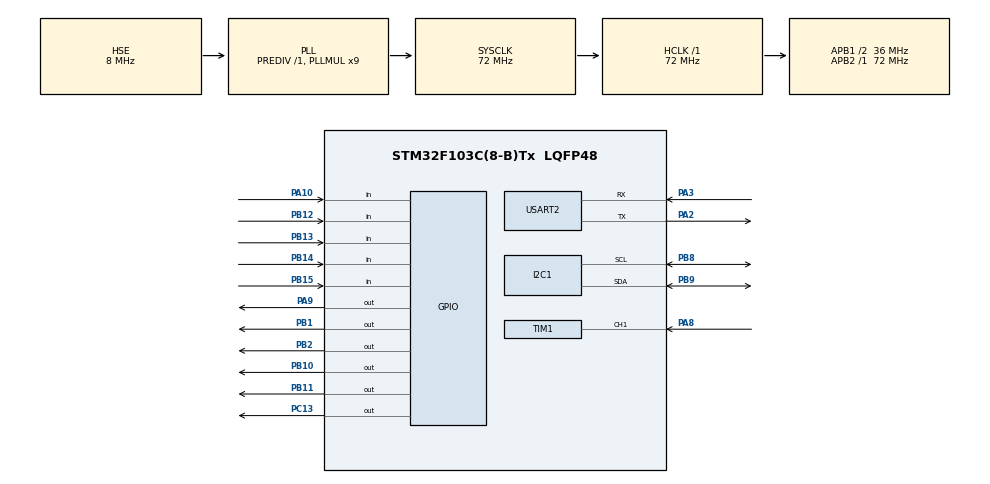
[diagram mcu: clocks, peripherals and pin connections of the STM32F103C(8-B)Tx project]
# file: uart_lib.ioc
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Mcu.Family=STM32F1
Mcu.Name=STM32F103C(8-B)Tx
Mcu.Package=LQFP48
NVIC.PriorityGroup=NVIC_PRIORITYGROUP_4
NVIC.RCC_IRQn=true\:0\:0\:false\:false\:true\:true\:false\:true
NVIC.TIM1_CC_IRQn=true\:0\:0\:false\:false\:true\:true\:true\:true
NVIC.TIM1_UP_IRQn=true\:0\:0\:false\:false\:true\:true\:true\:true
NVIC.USART2_IRQn=true\:0\:0\:false\:false\:true\:true\:true\:true
PA10.GPIO_PuPd=GPIO_PULLDOWN
PA10.Signal=GPIO_Input
PA13.Mode=Serial_Wire
PA13.Signal=SYS_JTMS-SWDIO
PA14.Mode=Serial_Wire
PA14.Signal=SYS_JTCK-SWCLK
PA2.Mode=Asynchronous
PA2.Signal=USART2_TX
PA3.Mode=Asynchronous
PA3.Signal=USART2_RX
PA8.Signal=S_TIM1_CH1
PA9.Signal=GPIO_Output
PB1.GPIO_Speed=GPIO_SPEED_FREQ_HIGH
PB1.Signal=GPIO_Output
PB10.GPIO_Speed=GPIO_SPEED_FREQ_HIGH
PB10.Signal=GPIO_Output
PB11.GPIO_Speed=GPIO_SPEED_FREQ_HIGH
PB11.Signal=GPIO_Output
PB12.GPIO_PuPd=GPIO_PULLUP
PB12.Signal=GPIO_Input
PB13.GPIO_PuPd=GPIO_PULLUP
PB13.Signal=GPIO_Input
PB14.GPIO_PuPd=GPIO_PULLUP
PB14.Signal=GPIO_Input
PB15.GPIO_PuPd=GPIO_PULLUP
PB15.Signal=GPIO_Input
PB2.GPIO_Speed=GPIO_SPEED_FREQ_HIGH
PB2.Signal=GPIO_Output
PB8.Mode=I2C
PB8.Signal=I2C1_SCL
PB9.Mode=I2C
PB9.Signal=I2C1_SDA
PC13-TAMPER-RTC.Signal=GPIO_Output
PD0-OSC_IN.Mode=HSE-External-Oscillator
PD0-OSC_IN.Signal=RCC_OSC_IN
PD1-OSC_OUT.Mode=HSE-External-Oscillator
PD1-OSC_OUT.Signal=RCC_OSC_OUT
ProjectManager.HeapSize=0x200
ProjectManager.StackSize=0x400
ProjectManager.TargetToolchain=MDK-ARM V5.32
RCC.AHBFreq_Value=72000000
RCC.APB1CLKDivider=RCC_HCLK_DIV2
RCC.APB1Freq_Value=36000000
RCC.APB1TimFreq_Value=72000000
RCC.APB2Freq_Value=72000000
RCC.APB2TimFreq_Value=72000000
RCC.HCLKFreq_Value=72000000
RCC.PLLMUL=RCC_PLL_MUL9
RCC.PLLSourceVirtual=RCC_PLLSOURCE_HSE
RCC.SYSCLKFreq_VALUE=72000000
RCC.SYSCLKSource=RCC_SYSCLKSOURCE_PLLCLK
RCC.USBFreq_Value=72000000
SH.S_TIM1_CH1.0=TIM1_CH1,Input_Capture1_from_TI1
TIM1.Channel-Input_Capture1_from_TI1=TIM_CHANNEL_1
TIM1.Prescaler=71
USART2.VirtualMode=VM_ASYNC
VP_TIM1_VS_ClockSourceINT.Mode=Internal
board=custom

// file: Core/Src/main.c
/* USER CODE BEGIN Header */
/**
  ******************************************************************************
  * @file           : main.c
  * @brief          : Main program body
  ******************************************************************************
  * @attention
  *
  * Copyright (c) 2025 STMicroelectronics.
  * All rights reserved.
  *
  * This software is licensed under terms that can be found in the LICENSE file
  * in the root directory of this software component.
  * If no LICENSE file comes with this software, it is provided AS-IS.
  *
  ******************************************************************************
  */
/* USER CODE END Header */
#include "main.h"

/* USER CODE BEGIN Includes */
#include "string.h"
#include <stdio.h>
#include "lcd_i2cModule.h"
#include "keypad_4x4.h"
#include "sr04.h"
/* USER CODE END Includes */

I2C_HandleTypeDef hi2c1;

TIM_HandleTypeDef htim1;

UART_HandleTypeDef huart2;

/* USER CODE BEGIN PV */
sr04_t sr04;
float khoang_cach = 0;
char key_val, buffer[20];
uint8_t sound = 0;

char buffer_sr04[20];
char buffer_kp[20];
char buffer_sound[20];

#define HCSR04_PERIOD_MS 50
#define SOUNDSS_PERIOD_MS 50
#define KEYBOARD_PERIOD_MS 500
#define LCD_PERIOD_MS 250
#define UART_PERIOD_MS 50
#define TOTAL_CYCLE_MS 500

#define T1 50
#define T2 50
#define T3 500
#define T4 250
#define T5 50
#define T6 500

uint32_t start_time_task_1 = 0, end_time_task_1 = 0;
uint32_t start_time_task_2 = 0, end_time_task_2 = 0;
uint32_t start_time_task_3 = 0, end_time_task_3 = 0;
uint32_t start_time_task_4 = 0, end_time_task_4 = 0;
uint32_t start_time_task_5 = 0, end_time_task_5 = 0;

uint32_t last_tick_t1 = 0;
uint32_t last_tick_t2 = 0;
uint32_t last_tick_t3 = 0;
uint32_t last_tick_t4 = 0;
uint32_t last_tick_t5 = 0;

/* Task intervals (in milliseconds) */
/* USER CODE END PV */

void SystemClock_Config(void);
static void MX_GPIO_Init(void);
static void MX_I2C1_Init(void);
static void MX_TIM1_Init(void);
static void MX_USART2_UART_Init(void);
/* USER CODE BEGIN PFP */

void Task_HCSR04(void);
void Task_SoundSensor(void);
void Task_Keypad(void);
void time_HCSR04(void);
void time_SoundSensor(void);
void time_Keypad(void);
/* USER CODE END PFP */

/* USER CODE BEGIN 0 */
/*
void HAL_UART_RxCpltCallback(UART_HandleTypeDef *huart){
    UNUSED(huart);
    if(huart->Instance == USART1){
        if(u8_RxData != 13) {
            u8_RxBuff[_rxIndex++] = u8_RxData;
        }
        else if(u8_RxData == 13) {
            _rxIndex = 0;
            Tx_Flag = 1;
        }
        HAL_UART_Receive_IT(&huart2, &u8_RxData, 1);
    }
}*/
 //Handle HCSR04
void handleHCSR04(void)
{
  static uint32_t lastHCSR04Time = 0;
  uint32_t currentTime = HAL_GetTick();

	//Kiem tra thoi gian tre de goi lai cam bien HCSR04
  if (currentTime - lastHCSR04Time >= HCSR04_PERIOD_MS)
  {
    sr04_trigger(&sr04);
    khoang_cach = sr04.distance;
    snprintf(buffer_sr04, 50, "Distance: %.1fmm", khoang_cach);
    lastHCSR04Time = currentTime;
  }
}

//Handle Sound Sensor
	void handleSoundSensor(void)
{
  static uint32_t lastSoundTime = 0;
  uint32_t currentTime = HAL_GetTick();

  // Kiem tra thoi gian tre de doc c?m bien am thanh
  if (currentTime - lastSoundTime >= SOUNDSS_PERIOD_MS)
  {
    if (HAL_GPIO_ReadPin(GPIOA, GPIO_PIN_10) == GPIO_PIN_RESET) {
      strcpy(buffer_sound, "YES ");
    }
    else {
      strcpy(buffer_sound, "NO ");
    }
    lastSoundTime = currentTime;
  }
}

//Handle keypad
void handleKeypad(void)
{
  static uint32_t lastKeypadTime = 0;
  uint32_t currentTime = HAL_GetTick();

  // Kiem tra thoi gian tre de doc ban phim
  if (currentTime - lastKeypadTime >= KEYBOARD_PERIOD_MS)
  {
    key_val = keypad_get_key_value();
    sprintf(buffer_kp, "Key: %c", key_val);
    lastKeypadTime = currentTime;
  }
}

//Handle LCD
void handleLCD(void)
{
	static uint32_t lastLCDTime = 0;
  uint32_t currentTime = HAL_GetTick();

	//Kiem tra thoi gian de hien thi LCD
	if (currentTime - lastLCDTime >= LCD_PERIOD_MS){
		//Hien thi khoang cach
		LCD_SetCursor(1, 1);
		LCD_Send_String(buffer_sr04, STR_NOSLIDE);

		//Hien thi trang thai am thanh
		LCD_SetCursor(2, 1);
		LCD_Send_String(buffer_sound, STR_NOSLIDE);

		//Hien thi keypad
		LCD_SetCursor(2, 7);
		LCD_Send_String(buffer_kp, STR_NOSLIDE);

		lastLCDTime = currentTime;
	}
}

//Handle UART
void handleUART(void)
{
	static uint32_t lastUARTTime = 0;
  uint32_t currentTime = HAL_GetTick();

	if (currentTime - lastUARTTime >= UART_PERIOD_MS){
		//Gui thong tin khoang cach len may tinh
		strcat(buffer_sr04, "\n");
		HAL_UART_Transmit(&huart2, (uint8_t*)buffer_sr04, strlen(buffer_sr04), HAL_MAX_DELAY);

		//Gui trang thai am thanh len may tinh
		strcat(buffer_sound, "\n");
		HAL_UART_Transmit(&huart2, (uint8_t*)buffer_sound, strlen(buffer_sound), HAL_MAX_DELAY);

		//Gui thong tin phim nhan keypad len may tinh
		strcat(buffer_kp, "\n");
		HAL_UART_Transmit(&huart2, (uint8_t*)buffer_kp, strlen(buffer_kp), HAL_MAX_DELAY);

		lastUARTTime = currentTime;
	}
}

/* USER CODE END 0 */

int main(void)
{

  /* USER CODE BEGIN 1 */
	uint32_t last_execution_time = HAL_GetTick();
	uint32_t current_time;
	uint16_t f = 50;
	//uint32_t task_start_time;
	//uint32_t task_execution_time;
  /* USER CODE END 1 */

  /* MCU Configuration--------------------------------------------------------*/

  /* Reset of all peripherals, Initializes the Flash interface and the Systick. */
  HAL_Init();

  /* USER CODE BEGIN Init */
  MX_GPIO_Init();
  MX_I2C1_Init();
  MX_TIM1_Init();
  MX_USART2_UART_Init();

  /* USER CODE END Init */

  /* Configure the system clock */
  SystemClock_Config();

  /* USER CODE BEGIN SysInit */
/* Init HCSR04 */
  sr04.trig_port = GPIOA;
  sr04.trig_pin = GPIO_PIN_9;
  sr04.echo_htim = &htim1;
  sr04.echo_channel = TIM_CHANNEL_1;
  sr04_init(&sr04);

  /* Init LCD */
  LCD_i2cDeviceCheck();
  LCD_Init();
  LCD_BackLight(LCD_BL_ON);

  /* Init keypad */
  keypad_init();
  /* USER CODE END SysInit */

  /* Initialize all configured peripherals */
  MX_GPIO_Init();
  MX_I2C1_Init();
  MX_TIM1_Init();
  MX_USART2_UART_Init();

  /* Infinite loop */
  /* USER CODE BEGIN WHILE */
  while (1)
  {
		current_time = HAL_GetTick();
		if (current_time < T1) {
            // T1: HCSR04
            handleHCSR04();
        } else if (current_time >= T1 && current_time < T1 + T2) {
            // T2: SoundSensor
            handleSoundSensor();
        } else if (current_time >= T1 + T2 && current_time < T1 + T2 + T5) {
            // T5: UART
					handleUART();
				} else if (current_time >= T1 + T2 + T5 && current_time < T1 + T2 + T5 + T4) {
            // T4: LCD
            handleLCD();
				} else if (current_time >= T1 + T2 + T5 + T4 && current_time < 50) {
            HAL_Delay(19); }
				// 50
					else if (current_time >= f && current_time < f+ T1 ) {
            // T1: HCSR04
            handleHCSR04();
        } else if (current_time >= f + T1 && current_time < f + T1 + T2) {
            // T2: SoundSensor
            handleSoundSensor();
        } else if (current_time >= f +T1 + T2 && current_time < f + T1 + T2 + T5) {
            // T5: UART
					handleUART();
				} else if (current_time >= f + T1 + T2 + T5 && current_time < 2*f) {
            HAL_Delay(35); }
        //100
        else if (current_time >= 2*f && current_time < 2*f+ T1 ) {
            // T1: HCSR04
            handleHCSR04();
        } else if (current_time >= 2*f + T1 && current_time < 2*f + T1 + T2) {
            // T2: SoundSensor
            handleSoundSensor();
        } else if (current_time >= 2*f +T1 + T2 && current_time < 2*f + T1 + T2 + T5) {
            // T5: UART
					  handleUART();
				} else if (current_time >= 2*f + T1 + T2 + T5 && current_time < 2*f + T1 + T2 + T5 +T3) {
            // T3: Keypad
            handleKeypad();
				} else if (current_time >= 2*f + T1 + T2 + T5 +T3 && current_time < 2*f + T1 + T2 + T5 +T3 + 126) {
            HAL_Delay(126);
	      } else if (current_time >= 2*f + T1 + T2 + T5 +T3 + 126 && current_time < 2*f + 2*T1 + T2 + T5 +T3 + 126 ) {
            // T1: HCSR04
            handleHCSR04();
        } else if (current_time >= 2*f + 2*T1 + T2 + T5 +T3 + 126 && current_time < 2*f + 2*T1 + 2*T2 + T5 +T3 + 126) {
            // T2: SoundSensor
            handleSoundSensor();
        } else if (current_time >= 2*f + 2*T1 + 2*T2 + T5 +T3 + 126 && current_time < 2*f + 2*T1 + 2*T2 + 2*T5 +T3 + 126) {
            // T5: UART
					  handleUART();
				//200
				} else if (current_time >= 4*f && current_time < 4*f+ T1 ) {
            // T1: HCSR04
            handleHCSR04();
        } else if (current_time >= 4*f + T1 && current_time < 4*f + T1 + T2) {
            // T2: SoundSensor
            handleSoundSensor();
        } else if (current_time >= 4*f +T1 + T2 && current_time < 4*f + T1 + T2 + T5) {
            // T5: UART
					handleUART();
				} else if (current_time >= 4*f + T1 + T2 + T5 && current_time < 5*f) {
            HAL_Delay(35);
			  //250
				} else if (current_time < 5*f+T1) {
            // T1: HCSR04
            handleHCSR04();
        } else if (current_time >= 5*f+T1 && current_time < 5*f+T1 + T2) {
            // T2: SoundSensor
            handleSoundSensor();
        } else if (current_time >= 5*f+T1 + T2 && current_time < 5*f+T1 + T2 + T5) {
            // T5: UART
					handleUART();
				} else if (current_time >= 5*f+T1 + T2 + T5 && current_time < 5*f+T1 + T2 + T5 + T4) {
            // T4: LCD
            handleLCD();
				} else if (current_time >= 5*f+T1 + T2 + T5 + T4 && current_time < 6*f) {
            HAL_Delay(19);

				//300

				} else if (current_time >= 6*f && current_time < 6*f+ T1 ) {
            // T1: HCSR04
            handleHCSR04();
        } else if (current_time >= 6*f + T1 && current_time < 6*f + T1 + T2) {
            // T2: SoundSensor
            handleSoundSensor();
        } else if (current_time >= 6*f +T1 + T2 && current_time < 6*f + T1 + T2 + T5) {
            // T5: UART
					handleUART();
				} else if (current_time >= 6*f + T1 + T2 + T5 && current_time < 7*f) {
            HAL_Delay(35);
				//350
				} else if (current_time >= 7*f && current_time < 7*f+ T1 ) {
            // T1: HCSR04
            handleHCSR04();
        } else if (current_time >=7*f + T1 && current_time < 7*f + T1 + T2) {
            // T2: SoundSensor
            handleSoundSensor();
        } else if (current_time >= 7*f +T1 + T2 && current_time < 7*f + T1 + T2 + T5) {
            // T5: UART
					handleUART();
				} else if (current_time >= 7*f + T1 + T2 + T5 && current_time < 8*f) {
            HAL_Delay(35);
				//400
				} else if (current_time >= 8*f && current_time < 8*f+ T1 ) {
            // T1: HCSR04
            handleHCSR04();
        } else if (current_time >=8*f + T1 && current_time < 8*f + T1 + T2) {
            // T2: SoundSensor
            handleSoundSensor();
        } else if (current_time >= 8*f +T1 + T2 && current_time < 8*f + T1 + T2 + T5) {
            // T5: UART
					handleUART();
				} else if (current_time >= 8*f + T1 + T2 + T5 && current_time < 9*f) {
            HAL_Delay(35);
				//450
				} else if (current_time >= 9*f && current_time < 9*f+ T1 ) {
            // T1: HCSR04
            handleHCSR04();
        } else if (current_time >=9*f + T1 && current_time < 9*f + T1 + T2) {
            // T2: SoundSensor
            handleSoundSensor();
        } else if (current_time >= 9*f +T1 + T2 && current_time < 9*f + T1 + T2 + T5) {
            // T5: UART
					handleUART();
				} else if (current_time >= 9*f + T1 + T2 + T5 && current_time < TOTAL_CYCLE_MS) {
            HAL_Delay(35);
        }
				//500
				if (current_time >= TOTAL_CYCLE_MS) {
            current_time = 0;  // Reset current_time về 0 để bắt đầu chu kỳ mới
        }
    /* USER CODE END WHILE */
	}
}

void SystemClock_Config(void)
{
  RCC_OscInitTypeDef RCC_OscInitStruct = {0};
  RCC_ClkInitTypeDef RCC_ClkInitStruct = {0};

  /** Initializes the RCC Oscillators according to the specified parameters
  * in the RCC_OscInitTypeDef structure.
  */
  RCC_OscInitStruct.OscillatorType = RCC_OSCILLATORTYPE_HSE;
  RCC_OscInitStruct.HSEState = RCC_HSE_ON;
  RCC_OscInitStruct.HSEPredivValue = RCC_HSE_PREDIV_DIV1;
  RCC_OscInitStruct.HSIState = RCC_HSI_ON;
  RCC_OscInitStruct.PLL.PLLState = RCC_PLL_ON;
  RCC_OscInitStruct.PLL.PLLSource = RCC_PLLSOURCE_HSE;
  RCC_OscInitStruct.PLL.PLLMUL = RCC_PLL_MUL9;
  if (HAL_RCC_OscConfig(&RCC_OscInitStruct) != HAL_OK)
  {
    Error_Handler();
  }

  /** Initializes the CPU, AHB and APB buses clocks
  */
  RCC_ClkInitStruct.ClockType = RCC_CLOCKTYPE_HCLK|RCC_CLOCKTYPE_SYSCLK
                              |RCC_CLOCKTYPE_PCLK1|RCC_CLOCKTYPE_PCLK2;
  RCC_ClkInitStruct.SYSCLKSource = RCC_SYSCLKSOURCE_PLLCLK;
  RCC_ClkInitStruct.AHBCLKDivider = RCC_SYSCLK_DIV1;
  RCC_ClkInitStruct.APB1CLKDivider = RCC_HCLK_DIV2;
  RCC_ClkInitStruct.APB2CLKDivider = RCC_HCLK_DIV1;

  if (HAL_RCC_ClockConfig(&RCC_ClkInitStruct, FLASH_LATENCY_2) != HAL_OK)
  {
    Error_Handler();
  }
}

static void MX_I2C1_Init(void)
{

  hi2c1.Instance = I2C1;
  hi2c1.Init.ClockSpeed = 100000;
  hi2c1.Init.DutyCycle = I2C_DUTYCYCLE_2;
  hi2c1.Init.OwnAddress1 = 0;
  hi2c1.Init.AddressingMode = I2C_ADDRESSINGMODE_7BIT;
  hi2c1.Init.DualAddressMode = I2C_DUALADDRESS_DISABLE;
  hi2c1.Init.OwnAddress2 = 0;
  hi2c1.Init.GeneralCallMode = I2C_GENERALCALL_DISABLE;
  hi2c1.Init.NoStretchMode = I2C_NOSTRETCH_DISABLE;
  if (HAL_I2C_Init(&hi2c1) != HAL_OK)
  {
    Error_Handler();
  }

}

static void MX_TIM1_Init(void)
{

  TIM_ClockConfigTypeDef sClockSourceConfig = {0};
  TIM_MasterConfigTypeDef sMasterConfig = {0};
  TIM_IC_InitTypeDef sConfigIC = {0};

  htim1.Instance = TIM1;
  htim1.Init.Prescaler = 71;
  htim1.Init.CounterMode = TIM_COUNTERMODE_UP;
  htim1.Init.Period = 65535;
  htim1.Init.ClockDivision = TIM_CLOCKDIVISION_DIV1;
  htim1.Init.RepetitionCounter = 0;
  htim1.Init.AutoReloadPreload = TIM_AUTORELOAD_PRELOAD_DISABLE;
  if (HAL_TIM_Base_Init(&htim1) != HAL_OK)
  {
    Error_Handler();
  }
  sClockSourceConfig.ClockSource = TIM_CLOCKSOURCE_INTERNAL;
  if (HAL_TIM_ConfigClockSource(&htim1, &sClockSourceConfig) != HAL_OK)
  {
    Error_Handler();
  }
  if (HAL_TIM_IC_Init(&htim1) != HAL_OK)
  {
    Error_Handler();
  }
  sMasterConfig.MasterOutputTrigger = TIM_TRGO_RESET;
  sMasterConfig.MasterSlaveMode = TIM_MASTERSLAVEMODE_DISABLE;
  if (HAL_TIMEx_MasterConfigSynchronization(&htim1, &sMasterConfig) != HAL_OK)
  {
    Error_Handler();
  }
  sConfigIC.ICPolarity = TIM_INPUTCHANNELPOLARITY_RISING;
  sConfigIC.ICSelection = TIM_ICSELECTION_DIRECTTI;
  sConfigIC.ICPrescaler = TIM_ICPSC_DIV1;
  sConfigIC.ICFilter = 0;
  if (HAL_TIM_IC_ConfigChannel(&htim1, &sConfigIC, TIM_CHANNEL_1) != HAL_OK)
  {
    Error_Handler();
  }

}

static void MX_USART2_UART_Init(void)
{

  huart2.Instance = USART2;
  huart2.Init.BaudRate = 115200;
  huart2.Init.WordLength = UART_WORDLENGTH_8B;
  huart2.Init.StopBits = UART_STOPBITS_1;
  huart2.Init.Parity = UART_PARITY_NONE;
  huart2.Init.Mode = UART_MODE_TX_RX;
  huart2.Init.HwFlowCtl = UART_HWCONTROL_NONE;
  huart2.Init.OverSampling = UART_OVERSAMPLING_16;
  if (HAL_UART_Init(&huart2) != HAL_OK)
  {
    Error_Handler();
  }

}

static void MX_GPIO_Init(void)
{
  GPIO_InitTypeDef GPIO_InitStruct = {0};

  /* GPIO Ports Clock Enable */
  __HAL_RCC_GPIOC_CLK_ENABLE();
  __HAL_RCC_GPIOD_CLK_ENABLE();
  __HAL_RCC_GPIOA_CLK_ENABLE();
  __HAL_RCC_GPIOB_CLK_ENABLE();

  /*Configure GPIO pin Output Level */
  HAL_GPIO_WritePin(GPIOC, GPIO_PIN_13, GPIO_PIN_RESET);

  /*Configure GPIO pin Output Level */
  HAL_GPIO_WritePin(GPIOB, GPIO_PIN_1|GPIO_PIN_2|GPIO_PIN_10|GPIO_PIN_11, GPIO_PIN_RESET);

  /*Configure GPIO pin Output Level */
  HAL_GPIO_WritePin(GPIOA, GPIO_PIN_9, GPIO_PIN_RESET);

  /*Configure GPIO pin : PC13 */
  GPIO_InitStruct.Pin = GPIO_PIN_13;
  GPIO_InitStruct.Mode = GPIO_MODE_OUTPUT_PP;
  GPIO_InitStruct.Pull = GPIO_NOPULL;
  GPIO_InitStruct.Speed = GPIO_SPEED_FREQ_LOW;
  HAL_GPIO_Init(GPIOC, &GPIO_InitStruct);

  /*Configure GPIO pins : PB1 PB2 PB10 PB11 */
  GPIO_InitStruct.Pin = GPIO_PIN_1|GPIO_PIN_2|GPIO_PIN_10|GPIO_PIN_11;
  GPIO_InitStruct.Mode = GPIO_MODE_OUTPUT_PP;
  GPIO_InitStruct.Pull = GPIO_NOPULL;
  GPIO_InitStruct.Speed = GPIO_SPEED_FREQ_HIGH;
  HAL_GPIO_Init(GPIOB, &GPIO_InitStruct);

  /*Configure GPIO pins : PB12 PB13 PB14 PB15 */
  GPIO_InitStruct.Pin = GPIO_PIN_12|GPIO_PIN_13|GPIO_PIN_14|GPIO_PIN_15;
  GPIO_InitStruct.Mode = GPIO_MODE_INPUT;
  GPIO_InitStruct.Pull = GPIO_PULLUP;
  HAL_GPIO_Init(GPIOB, &GPIO_InitStruct);

  /*Configure GPIO pin : PA9 */
  GPIO_InitStruct.Pin = GPIO_PIN_9;
  GPIO_InitStruct.Mode = GPIO_MODE_OUTPUT_PP;
  GPIO_InitStruct.Pull = GPIO_NOPULL;
  GPIO_InitStruct.Speed = GPIO_SPEED_FREQ_LOW;
  HAL_GPIO_Init(GPIOA, &GPIO_InitStruct);

  /*Configure GPIO pin : PA10 */
  GPIO_InitStruct.Pin = GPIO_PIN_10;
  GPIO_InitStruct.Mode = GPIO_MODE_INPUT;
  GPIO_InitStruct.Pull = GPIO_PULLDOWN;
  HAL_GPIO_Init(GPIOA, &GPIO_InitStruct);

}

/* USER CODE BEGIN 4 */
/**
    * @brief Task to handle HCSR04 distance measurement
    */
void Task_HCSR04(void)
  {
    sr04_trigger(&sr04);
    khoang_cach = sr04.distance;

    snprintf(buffer, 50, "Distance: %.1fmm", khoang_cach);
    LCD_SetCursor(1, 1);
    LCD_Send_String(buffer, STR_NOSLIDE);
  }

  /**
    * @brief Task to handle sound sensor
    */
void Task_SoundSensor(void)
  {
    if (HAL_GPIO_ReadPin(GPIOA, GPIO_PIN_10) == GPIO_PIN_RESET) {
      strcpy(buffer, "Sound: YES ");
      sound = 3;
    } else {
      strcpy(buffer, "Sound: NO ");
      sound = 8;
    }

    LCD_SetCursor(2, 1);
    LCD_Send_String(buffer, STR_NOSLIDE);
  }

  /**
    * @brief Task to handle keypad scanning
    */
void Task_Keypad(void)
  {
    key_val = keypad_get_key_value();
    if (key_val != 0) {
      sprintf(buffer, "Key: %c", key_val);
      LCD_SetCursor(2, 7);
      LCD_Send_String(buffer, STR_NOSLIDE);
    }
  }

/* USER CODE END 4 */

void Error_Handler(void)
{
  __disable_irq();
  while (1)
  {
  }
}
